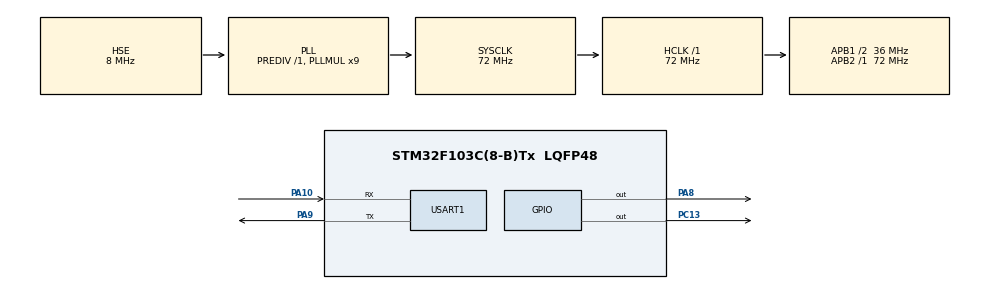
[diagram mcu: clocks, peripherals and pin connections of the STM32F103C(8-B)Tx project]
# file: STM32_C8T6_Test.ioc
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Mcu.Family=STM32F1
Mcu.Name=STM32F103C(8-B)Tx
Mcu.Package=LQFP48
NVIC.PriorityGroup=NVIC_PRIORITYGROUP_4
PA10.Mode=Asynchronous
PA10.Signal=USART1_RX
PA13.Mode=Serial_Wire
PA13.Signal=SYS_JTMS-SWDIO
PA14.Mode=Serial_Wire
PA14.Signal=SYS_JTCK-SWCLK
PA8.Signal=GPIO_Output
PA9.Mode=Asynchronous
PA9.Signal=USART1_TX
PC13-TAMPER-RTC.Signal=GPIO_Output
PD0-OSC_IN.Mode=HSE-External-Oscillator
PD0-OSC_IN.Signal=RCC_OSC_IN
PD1-OSC_OUT.Mode=HSE-External-Oscillator
PD1-OSC_OUT.Signal=RCC_OSC_OUT
ProjectManager.HeapSize=0x200
ProjectManager.StackSize=0x400
ProjectManager.TargetToolchain=MDK-ARM V5.32
RCC.AHBFreq_Value=72000000
RCC.APB1CLKDivider=RCC_HCLK_DIV2
RCC.APB1Freq_Value=36000000
RCC.APB1TimFreq_Value=72000000
RCC.APB2Freq_Value=72000000
RCC.APB2TimFreq_Value=72000000
RCC.HCLKFreq_Value=72000000
RCC.PLLMUL=RCC_PLL_MUL9
RCC.PLLSourceVirtual=RCC_PLLSOURCE_HSE
RCC.SYSCLKFreq_VALUE=72000000
RCC.SYSCLKSource=RCC_SYSCLKSOURCE_PLLCLK
RCC.USBFreq_Value=72000000
USART1.VirtualMode=VM_ASYNC
board=custom

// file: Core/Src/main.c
/* USER CODE BEGIN Header */
/**
  ******************************************************************************
  * @file           : main.c
  * @brief          : Main program body
  ******************************************************************************
  * @attention
  *
  * Copyright (c) 2026 STMicroelectronics.
  * All rights reserved.
  *
  * This software is licensed under terms that can be found in the LICENSE file
  * in the root directory of this software component.
  * If no LICENSE file comes with this software, it is provided AS-IS.
  *
  ******************************************************************************
  */
/* USER CODE END Header */
#include "main.h"
#include "usart.h"
#include "gpio.h"
#include "atk_qmi8658.h"
#include "sys.h"
#include "delay.h"
#include <stdio.h>
/* USER CODE BEGIN Includes */
#include "string.h"

/* USER CODE END Includes */

void SystemClock_Config(void);

/* USER CODE BEGIN 0 */

int fputc(int ch, FILE *f)
{

    HAL_UART_Transmit(&huart1, (uint8_t *)&ch, 1, 0xffff);
    return ch;
}

/* USER CODE END 0 */

int main(void)
{

  /* USER CODE BEGIN 1 */

float accel[3];
float gyro[3];
float temp;

  /* USER CODE END 1 */

  /* MCU Configuration--------------------------------------------------------*/

  /* Reset of all peripherals, Initializes the Flash interface and the Systick. */
  HAL_Init();

  /* Configure the system clock */
  SystemClock_Config();

  /* Initialize all configured peripherals */
  MX_GPIO_Init();
  MX_USART1_UART_Init();
  /* USER CODE BEGIN 2 */
delay_init(72);
printf("Starting QMI8658A test...\r\n");

while(atk_qmi8658_init() != 0)
{
    printf("QMI8658A Check Failed!\r\n");
}
printf("QMI8658A Ready!\r\n");
  /* USER CODE END 2 */

  /* Infinite loop */
  /* USER CODE BEGIN WHILE */
  while (1)
  {
		/* USER CODE BEGIN WHILE */
while (1)
{
    temp = atk_qmi8658_get_temperature();

    // ------------------- ??????? -------------------
    // ???? 12 ??????!
    uint8_t raw_buf[12];

    // ? 0x35 ??,??????? 12 ??????
    atk_qmi8568_read_nbytes(0x35, raw_buf, 12);

    // 1. ??????? (?????)
    int16_t raw_acc_x = (raw_buf[1] << 8) | raw_buf[0];
    int16_t raw_acc_y = (raw_buf[3] << 8) | raw_buf[2];
    int16_t raw_acc_z = (raw_buf[5] << 8) | raw_buf[4];

    // 2. ??????? (?? 6 ??????)
    int16_t raw_gyr_x = (raw_buf[7] << 8) | raw_buf[6];
    int16_t raw_gyr_y = (raw_buf[9] << 8) | raw_buf[8];
    int16_t raw_gyr_z = (raw_buf[11] << 8) | raw_buf[10];

    // 3. ?????:±16g ??,???? 2048 LSB/g
    float acc_x = (float)raw_acc_x / 2048.0f;
    float acc_y = (float)raw_acc_y / 2048.0f;
    float acc_z = (float)raw_acc_z / 2048.0f;

    // 4. ?????:??????? ±2048 dps (?/?) ??
    // 16???????? 32768? 32768 / 2048 = 16.0
    // ?????? 16.0 LSB/dps
    float gyr_x = (float)raw_gyr_x / 16.0f;
    float gyr_y = (float)raw_gyr_y / 16.0f;
    float gyr_z = (float)raw_gyr_z / 16.0f;
    // -------------------------------------------------------------

    // 5. ???????
    printf("Acc(g): X=%.2f, Y=%.2f, Z=%.2f | Gyr(dps): X=%.1f, Y=%.1f, Z=%.1f\r\n",
            acc_x, acc_y, acc_z, gyr_x, gyr_y, gyr_z);

    HAL_GPIO_TogglePin(GPIOA, GPIO_PIN_8);
    HAL_Delay(500);  // ??????? 500ms,????????
}
/* USER CODE END WHILE */

    /* USER CODE END WHILE */

  }
}

void SystemClock_Config(void)
{
  RCC_OscInitTypeDef RCC_OscInitStruct = {0};
  RCC_ClkInitTypeDef RCC_ClkInitStruct = {0};

  /** Initializes the RCC Oscillators according to the specified parameters
  * in the RCC_OscInitTypeDef structure.
  */
  RCC_OscInitStruct.OscillatorType = RCC_OSCILLATORTYPE_HSE;
  RCC_OscInitStruct.HSEState = RCC_HSE_ON;
  RCC_OscInitStruct.HSEPredivValue = RCC_HSE_PREDIV_DIV1;
  RCC_OscInitStruct.HSIState = RCC_HSI_ON;
  RCC_OscInitStruct.PLL.PLLState = RCC_PLL_ON;
  RCC_OscInitStruct.PLL.PLLSource = RCC_PLLSOURCE_HSE;
  RCC_OscInitStruct.PLL.PLLMUL = RCC_PLL_MUL9;
  if (HAL_RCC_OscConfig(&RCC_OscInitStruct) != HAL_OK)
  {
    Error_Handler();
  }

  /** Initializes the CPU, AHB and APB buses clocks
  */
  RCC_ClkInitStruct.ClockType = RCC_CLOCKTYPE_HCLK|RCC_CLOCKTYPE_SYSCLK
                              |RCC_CLOCKTYPE_PCLK1|RCC_CLOCKTYPE_PCLK2;
  RCC_ClkInitStruct.SYSCLKSource = RCC_SYSCLKSOURCE_PLLCLK;
  RCC_ClkInitStruct.AHBCLKDivider = RCC_SYSCLK_DIV1;
  RCC_ClkInitStruct.APB1CLKDivider = RCC_HCLK_DIV2;
  RCC_ClkInitStruct.APB2CLKDivider = RCC_HCLK_DIV1;

  if (HAL_RCC_ClockConfig(&RCC_ClkInitStruct, FLASH_LATENCY_2) != HAL_OK)
  {
    Error_Handler();
  }
}

void Error_Handler(void)
{
  __disable_irq();
  while (1)
  {
  }
}
